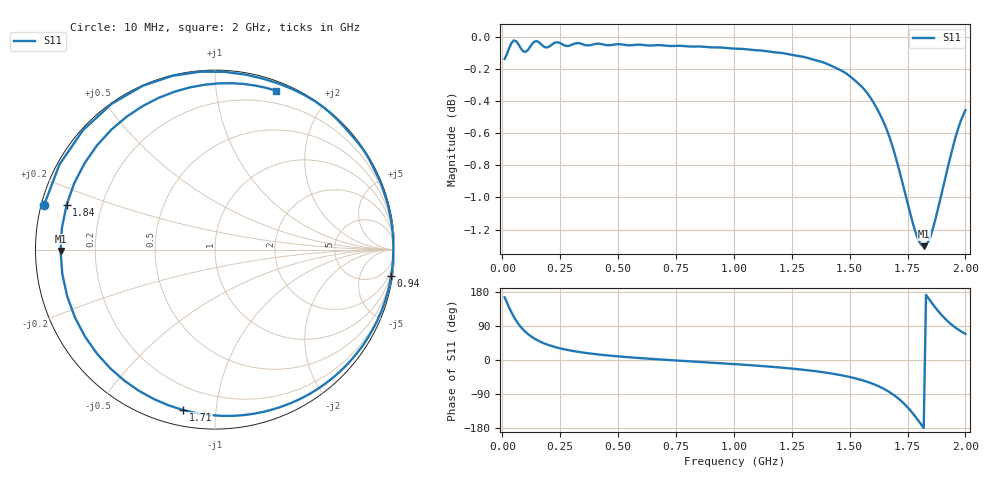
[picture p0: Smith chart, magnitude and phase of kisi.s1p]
! H_s8_cap_20: PDN loop: BGA pin field to a 0402 capacitor 20 mm away
! stackup: 8-layer 1.6 mm FR-4 (generic)
! ports: 1 IC pins
! kisi-fdtd, conformal, dfine 0.07 mm, 619974 cells
# Hz S RI R 1
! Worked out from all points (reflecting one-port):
!   200 points, 10 MHz to 2 GHz, reference 1 ohm
!   lowest |S11| = -1.3 dB at 1.82 GHz (marker M1), VSWR 13.36, Z = 0.0749 - j0.00409 ohm
!   phase of S11 starts at 165 deg and turns -457 deg over the sweep
!   S11 on the Smith chart (normalised r, x): 10 MHz: 0.01, +0.13; 940 MHz: 1, -14; 1.71 GHz: 0.08, -0.82; 1.84 GHz: 0.07, +0.15; 2 GHz: 0.08, +1.46
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1e7  -0.9527 0.2473
3e7  -0.7349 0.6664
4e7  -0.5752 0.8127
5e7  -0.4042 0.9118
7e7  -0.083 0.9911
1.1e8  0.3542 0.925
1.5e8  0.6064 0.7912
2e8  0.7661 0.6314
2.6e8  0.8683 0.485
3.6e8  0.9418 0.3179
5.1e8  0.9824 0.1558
7.6e8  0.9932 -0.0286
9.4e8  0.9818 -0.1449
1.01e9  0.9729 -0.1915
1.26e9  0.9071 -0.3887
1.4e9  0.8175 -0.5422
1.51e9  0.6724 -0.7005
1.62e9  0.3574 -0.8794
1.67e9  0.0998 -0.9262
1.71e9  -0.1793 -0.8934
1.76e9  -0.5832 -0.6619
1.79e9  -0.7807 -0.3773
1.82e9  -0.8607 -0.00707
1.84e9  -0.8268 0.2495
1.88e9  -0.5775 0.668
1.91e9  -0.3135 0.8456
1.95e9  0.0215 0.9262
2e9  0.3424 0.8848
